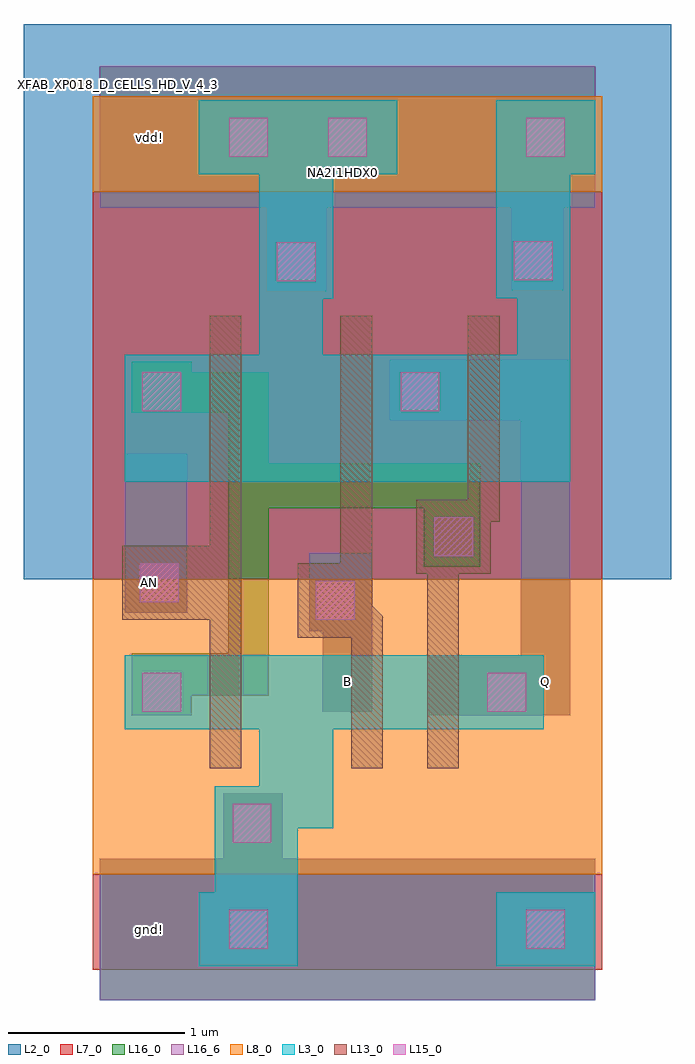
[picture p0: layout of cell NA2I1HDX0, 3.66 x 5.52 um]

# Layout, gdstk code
import gdstk
lib = gdstk.Library(unit=1e-6, precision=1e-09)
def R(c, l, rs):  # rectangles x0, y0, x1, y1
    for r in rs: c.add(gdstk.rectangle(r[:2], r[2:], *l))
def P(c, l, *ps):  # polygons
    for p in ps: c.add(gdstk.Polygon(p, *l))
L2_0 = (2, 0)
L3_0 = (3, 0)
L7_0 = (7, 0)
L8_0 = (8, 0)
L13_0 = (13, 0)
L15_0 = (15, 0)
L16_0 = (16, 0)
L16_6 = (16, 6)

na2i1hdx0 = lib.new_cell('NA2I1HDX0')
R(na2i1hdx0, L2_0, [(-0.43,1.98,3.23,5.12)])
R(na2i1hdx0, L3_0, [(2.24,-0.21,2.8,0.21)])
P(na2i1hdx0, L3_0, [(1.26,3.565),(1.32,3.565),(1.32,4.27),(1.68,4.27),(1.68,4.69),(0.56,4.69),(0.56,4.27),(0.9,4.27),(0.9,3.25),(0.14,3.25),(0.14,2.53),(2.66,2.53),(2.66,4.27),(2.8,4.27),(2.8,4.69),(2.24,4.69),(2.24,3.57),(2.36,3.57),(2.36,3.25),(1.26,3.25)],
  [(0.56,0.21),(0.65,0.21),(0.65,0.81),(0.9,0.81),(0.9,1.13),(0.14,1.13),(0.14,1.55),(2.51,1.55),(2.51,1.13),(1.32,1.13),(1.32,0.57),(1.12,0.57),(1.12,-0.21),(0.56,-0.21)])
R(na2i1hdx0, L7_0, [(-0.04,-0.23,2.84,0.31), (-0.04,1.98,2.84,4.17)])
R(na2i1hdx0, L8_0, [(-0.04,0.31,2.84,1.98), (-0.04,4.17,2.84,4.71)])
P(na2i1hdx0, L13_0, [(1.85,0.91),(1.85,2.01),(1.79,2.01),(1.79,2.43),(2.08,2.43),(2.08,3.47),(2.26,3.47),(2.26,2.305),(2.21,2.305),(2.21,2.01),(2.03,2.01),(2.03,0.91)],
  [(0.62,2.17),(0.62,3.47),(0.8,3.47),(0.8,0.91),(0.62,0.91),(0.62,1.75),(0.125,1.75),(0.125,2.17)],
  [(1.36,2.07),(1.36,3.47),(1.54,3.47),(1.54,1.83),(1.6,1.77),(1.6,0.91),(1.42,0.91),(1.42,1.65),(1.12,1.65),(1.12,2.07)])
R(na2i1hdx0, L15_0, [(0.73,-0.11,0.95,0.11), (2.41,-0.11,2.63,0.11), (0.75,0.49,0.97,0.71), (0.24,1.23,0.46,1.45), (2.19,1.23,2.41,1.45), (1.22,1.75,1.44,1.97), (0.225,1.85,0.445,2.07), (1.89,2.11,2.11,2.33), (0.24,2.93,0.46,3.15), (1.7,2.93,1.92,3.15), (1,3.665,1.22,3.885), (2.34,3.67,2.56,3.89), (0.73,4.37,0.95,4.59), (1.29,4.37,1.51,4.59), (2.41,4.37,2.63,4.59)])
R(na2i1hdx0, L16_0, [(0.14,1.79,0.495,2.69)])
P(na2i1hdx0, L16_0, [(0,-0.4),(2.8,-0.4),(2.8,0.4),(1.03,0.4),(1.03,0.77),(0.7,0.77),(0.7,0.4),(0,0.4)],
  [(2.33,4.08),(1.28,4.08),(1.28,3.605),(0.94,3.605),(0.94,4.08),(0,4.08),(0,4.88),(2.8,4.88),(2.8,4.08),(2.62,4.08),(2.62,3.61),(2.33,3.61)],
  [(2.38,1.54),(2.38,2.88),(1.64,2.88),(1.64,3.22),(2.66,3.22),(2.66,1.21),(1.86,1.21),(1.86,1.54)],
  [(2.15,2.635),(2.15,2.05),(1.83,2.05),(1.83,2.38),(0.955,2.38),(0.955,1.32),(0.52,1.32),(0.52,1.21),(0.18,1.21),(0.18,1.56),(0.725,1.56),(0.725,2.92),(0.18,2.92),(0.18,3.21),(0.52,3.21),(0.52,3.15),(0.955,3.15),(0.955,2.635)],
  [(1.54,2.13),(1.185,2.13),(1.185,1.685),(1.26,1.685),(1.26,1.23),(1.54,1.23)])
R(na2i1hdx0, L16_6, [(0,-0.4,2.8,0.4), (0.7,0.4,1.03,0.77), (0.14,1.79,0.495,2.69), (0.94,3.605,1.28,4.08), (2.33,3.61,2.62,4.08), (0,4.08,2.8,4.88)])
P(na2i1hdx0, L16_6, [(2.66,3.22),(1.64,3.22),(1.64,2.88),(2.38,2.88),(2.38,1.54),(1.86,1.54),(1.86,1.21),(2.66,1.21)],
  [(1.54,2.13),(1.185,2.13),(1.185,1.685),(1.26,1.685),(1.26,1.23),(1.54,1.23)])
na2i1hdx0.add(gdstk.Label('vdd!', (0.28,4.48), layer=16, texttype=3))
na2i1hdx0.add(gdstk.Label('B', (1.4,1.4), layer=16, texttype=3))
na2i1hdx0.add(gdstk.Label('AN', (0.28,1.96), layer=16, texttype=3))
na2i1hdx0.add(gdstk.Label('gnd!', (0.28,0), layer=16, texttype=3))
na2i1hdx0.add(gdstk.Label('Q', (2.52,1.4), layer=16, texttype=3))
na2i1hdx0.add(gdstk.Label('NA2I1HDX0  ', (1.4,4.28), layer=230, texttype=0))
na2i1hdx0.add(gdstk.Label('XFAB_XP018_D_CELLS_HD_V_4_3', (0.1,4.78), layer=230, texttype=0))

lib.write_gds('NA2I1HDX0.gds')
